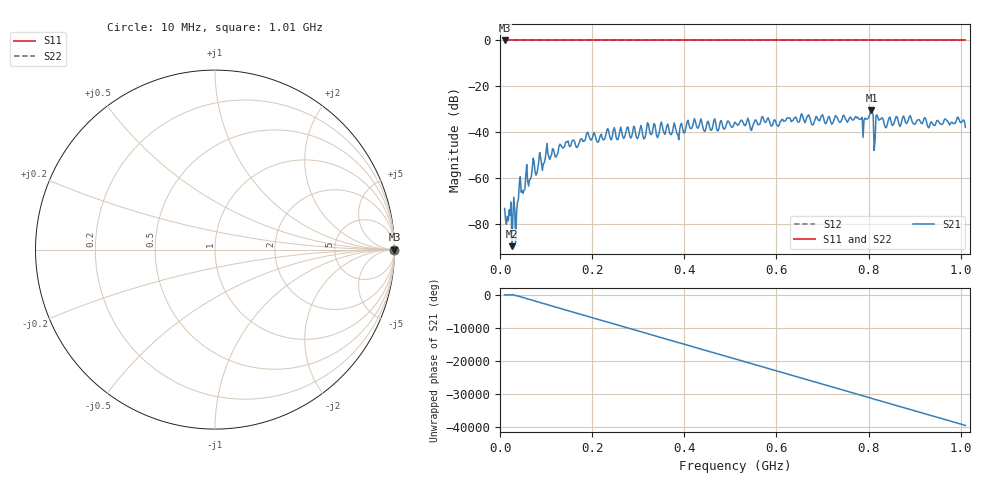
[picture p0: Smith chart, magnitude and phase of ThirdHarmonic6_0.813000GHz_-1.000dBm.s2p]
! 8/16/2025 3:04:00 AM
! C:\ANRITSUVNA\TEMP\TEMP.S2P
! CHANNEL.1
! TR.MEASUREMENT
! RAW.DATA
! RF.CORRECTION.OFF
! AVERAGING.OFF
! IF.BANDWIDTH: 5KHZ
! SWEEPTYPE:  FREQ.SWEEP(Linear)
! Reference Plane Port Info
! PORT:  PORT1  PORT2
! DISTANCE:  0  m  0  m
! TIME:  0  s  0  s
! PHASE.OFFSET:  0  deg.  0  deg.
! LOSS:  0  dB  0  dB
! REF.LOSS:  0  dB  0  dB
! REF.FREQ:  0  Hz  0  Hz
! Power Info
! POWER:  -20  dBm  -20  dBm
! EFF.POWER:  -20  dBm  -20  dBm
! SOURCE.ATTEN:  0  dB  0  dB
! TEST.ATTEN:  0  dB  0  dB
# GHZ S RI R 50.0
! FREQ.GHZ  S11RE  S11IM  S21RE  S21IM  S12RE  S12IM  S22RE  S22IM
!; PortSelection: Port_12
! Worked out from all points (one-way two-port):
!   501 points, 10 MHz to 1.01 GHz, reference 50 ohm
!   highest |S21| = -30.34 dB at 806 MHz (marker M1); lowest = -89.7 dB at 26 MHz (marker M2)
!   lowest |S11| = 0.0 dB at 10 MHz (marker M3)
!   |S11| at or under -10 dB: nowhere
!   |S22| runs from 0.0 to 0.0 dB; largest |S21 - S12| = 1
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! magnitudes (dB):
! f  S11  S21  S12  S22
! 10 MHz  0.0  -73.3  0.0  0.0
! 26 MHz  0.0  -89.7  0.0  0.0
! 36 MHz  0.0  -74.9  0.0  0.0
! 44 MHz  0.0  -59.4  0.0  0.0
! 50 MHz  0.0  -66.7  0.0  0.0
! 72 MHz  0.0  -51.3  0.0  0.0
! 94 MHz  0.0  -53.7  0.0  0.0
! 102 MHz  0.0  -44.9  0.0  0.0
! 178 MHz  0.0  -43.1  0.0  0.0
! 276 MHz  0.0  -37.8  0.0  0.0
! 314 MHz  0.0  -42.7  0.0  0.0
! 322 MHz  0.0  -36.3  0.0  0.0
! 344 MHz  0.0  -41.3  0.0  0.0
! 510 MHz  0.0  -35.6  0.0  0.0
! 656 MHz  0.0  -32.5  0.0  0.0
! 678 MHz  0.0  -36.8  0.0  0.0
! 792 MHz  0.0  -33.9  0.0  0.0
! 806 MHz  0.0  -30.3  0.0  0.0
! 814 MHz  0.0  -43.6  0.0  0.0
! 820 MHz  0.0  -33.5  0.0  0.0
! 844 MHz  0.0  -34.0  0.0  0.0
! 1.01 GHz  0.0  -37.9  0.0  0.0
